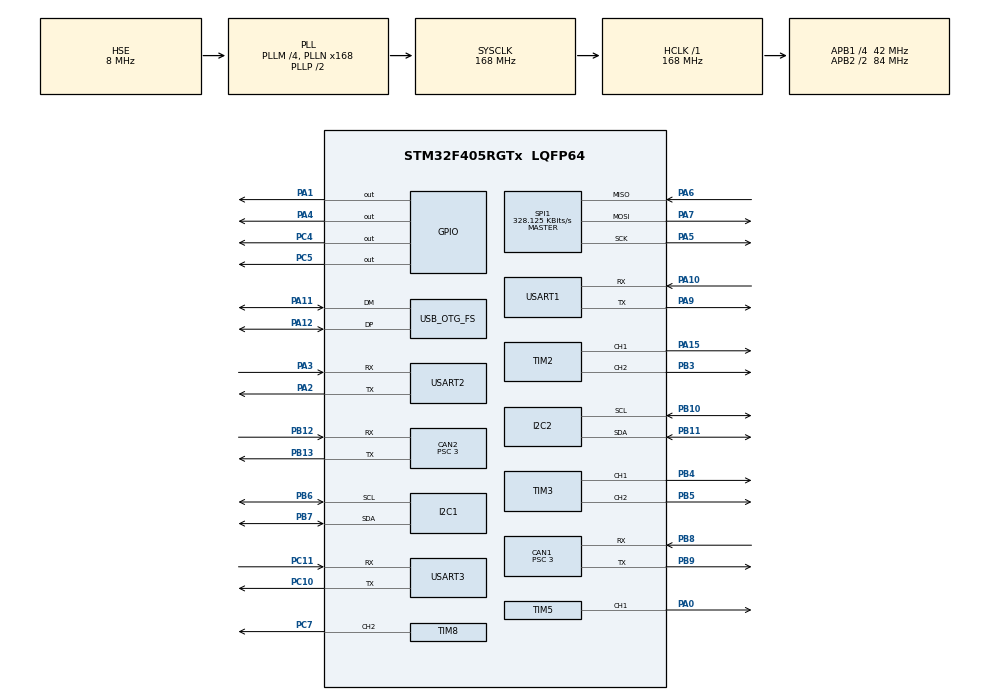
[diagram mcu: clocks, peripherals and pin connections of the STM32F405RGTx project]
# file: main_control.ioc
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CAN1.BS1=CAN_BS1_6TQ
CAN1.BS2=CAN_BS2_7TQ
CAN1.CalculateBaudRate=1000000
CAN1.CalculateTimeBit=1000
CAN1.CalculateTimeQuantum=71.42857142857143
CAN1.Prescaler=3
CAN1.TXFP=ENABLE
CAN2.BS1=CAN_BS1_10TQ
CAN2.BS2=CAN_BS2_3TQ
CAN2.CalculateBaudRate=1000000
CAN2.CalculateTimeBit=1000
CAN2.CalculateTimeQuantum=71.42857142857143
CAN2.Prescaler=3
CAN2.TXFP=ENABLE
FREERTOS.Tasks01=defaultTask,24,128,StartDefaultTask,Default,NULL,Dynamic,NULL,NULL;IMUTask,24,128,StartIMUTask,Default,NULL,Dynamic,NULL,NULL;CANTask,24,128,StartCANTask,Default,NULL,Dynamic,NULL,NULL
Mcu.Family=STM32F4
Mcu.Name=STM32F405RGTx
Mcu.Package=LQFP64
NVIC.CAN1_RX0_IRQn=true\:5\:0\:false\:false\:true\:true\:true\:true\:true
NVIC.CAN1_RX1_IRQn=true\:5\:0\:false\:false\:true\:true\:true\:true\:true
NVIC.CAN2_RX0_IRQn=true\:5\:0\:false\:false\:true\:true\:true\:true\:true
NVIC.CAN2_RX1_IRQn=true\:5\:0\:false\:false\:true\:true\:true\:true\:true
NVIC.OTG_FS_IRQn=true\:5\:0\:false\:false\:true\:true\:false\:true\:true
NVIC.PriorityGroup=NVIC_PRIORITYGROUP_4
NVIC.SPI1_IRQn=true\:5\:0\:false\:false\:true\:true\:true\:true\:true
NVIC.TIM8_TRG_COM_TIM14_IRQn=true\:15\:0\:false\:false\:true\:false\:false\:true\:true
NVIC.TimeBase=TIM8_TRG_COM_TIM14_IRQn
NVIC.TimeBaseIP=TIM14
PA0-WKUP.Signal=S_TIM5_CH1
PA1.GPIO_PuPd=GPIO_PULLUP
PA1.GPIO_Speed=GPIO_SPEED_FREQ_HIGH
PA1.PinState=GPIO_PIN_SET
PA1.Signal=GPIO_Output
PA10.Mode=Asynchronous
PA10.Signal=USART1_RX
PA11.Mode=Device_Only
PA11.Signal=USB_OTG_FS_DM
PA12.Mode=Device_Only
PA12.Signal=USB_OTG_FS_DP
PA15.Signal=S_TIM2_CH1_ETR
PA2.Mode=Asynchronous
PA2.Signal=USART2_TX
PA3.Mode=Asynchronous
PA3.Signal=USART2_RX
PA4.GPIO_PuPd=GPIO_PULLUP
PA4.GPIO_Speed=GPIO_SPEED_FREQ_HIGH
PA4.PinState=GPIO_PIN_SET
PA4.Signal=GPIO_Output
PA5.Mode=Full_Duplex_Master
PA5.Signal=SPI1_SCK
PA6.Mode=Full_Duplex_Master
PA6.Signal=SPI1_MISO
PA7.Mode=Full_Duplex_Master
PA7.Signal=SPI1_MOSI
PA9.Mode=Asynchronous
PA9.Signal=USART1_TX
PB10.Mode=I2C
PB10.Signal=I2C2_SCL
PB11.Mode=I2C
PB11.Signal=I2C2_SDA
PB12.Mode=CAN_Activate
PB12.Signal=CAN2_RX
PB13.Mode=CAN_Activate
PB13.Signal=CAN2_TX
PB3.Signal=S_TIM2_CH2
PB4.Signal=S_TIM3_CH1
PB5.Signal=S_TIM3_CH2
PB6.Mode=I2C
PB6.Signal=I2C1_SCL
PB7.Mode=I2C
PB7.Signal=I2C1_SDA
PB8.Mode=CAN_Activate
PB8.Signal=CAN1_RX
PB9.Mode=CAN_Activate
PB9.Signal=CAN1_TX
PC10.Mode=Asynchronous
PC10.Signal=USART3_TX
PC11.Mode=Asynchronous
PC11.Signal=USART3_RX
PC4.Signal=GPIO_Output
PC5.Signal=GPIO_Output
PC7.GPIO_PuPd=GPIO_NOPULL
PC7.Signal=S_TIM8_CH2
PH0-OSC_IN.Mode=HSE-External-Oscillator
PH0-OSC_IN.Signal=RCC_OSC_IN
PH1-OSC_OUT.Mode=HSE-External-Oscillator
PH1-OSC_OUT.Signal=RCC_OSC_OUT
ProjectManager.HeapSize=0x800
ProjectManager.StackSize=0x1600
ProjectManager.TargetToolchain=MDK-ARM V5.32
RCC.48MHZClocksFreq_Value=48000000
RCC.AHBFreq_Value=168000000
RCC.APB1CLKDivider=RCC_HCLK_DIV4
RCC.APB1Freq_Value=42000000
RCC.APB1TimFreq_Value=84000000
RCC.APB2CLKDivider=RCC_HCLK_DIV2
RCC.APB2Freq_Value=84000000
RCC.APB2TimFreq_Value=168000000
RCC.CortexFreq_Value=168000000
RCC.HCLKFreq_Value=168000000
RCC.HSE_VALUE=8000000
RCC.HSI_VALUE=16000000
RCC.LSE_VALUE=32768
RCC.PLLM=4
RCC.PLLN=168
RCC.PLLQ=7
RCC.SYSCLKFreq_VALUE=168000000
RCC.SYSCLKSource=RCC_SYSCLKSOURCE_PLLCLK
RCC.VCOOutputFreq_Value=336000000
SH.S_TIM2_CH1_ETR.0=TIM2_CH1,PWM Generation1 CH1
SH.S_TIM2_CH2.0=TIM2_CH2,PWM Generation2 CH2
SH.S_TIM3_CH1.0=TIM3_CH1,PWM Generation1 CH1
SH.S_TIM3_CH2.0=TIM3_CH2,PWM Generation2 CH2
SH.S_TIM5_CH1.0=TIM5_CH1,PWM Generation1 CH1
SH.S_TIM8_CH2.0=TIM8_CH2,PWM Generation2 CH2
SPI1.BaudRatePrescaler=SPI_BAUDRATEPRESCALER_256
SPI1.CLKPhase=SPI_PHASE_2EDGE
SPI1.CLKPolarity=SPI_POLARITY_HIGH
SPI1.CalculateBaudRate=328.125 KBits/s
SPI1.Direction=SPI_DIRECTION_2LINES
SPI1.Mode=SPI_MODE_MASTER
SPI1.VirtualType=VM_MASTER
TIM13.Prescaler=84-1
TIM2.Channel-PWM\ Generation1\ CH1=TIM_CHANNEL_1
TIM2.Channel-PWM\ Generation2\ CH2=TIM_CHANNEL_2
TIM3.Channel-PWM\ Generation1\ CH1=TIM_CHANNEL_1
TIM3.Channel-PWM\ Generation2\ CH2=TIM_CHANNEL_2
TIM5.Channel-PWM\ Generation1\ CH1=TIM_CHANNEL_1
TIM8.Channel-PWM\ Generation2\ CH2=TIM_CHANNEL_2
USART1.VirtualMode=VM_ASYNC
USART2.VirtualMode=VM_ASYNC
USART3.VirtualMode=VM_ASYNC
USB_DEVICE.CLASS_NAME_FS=CDC
USB_DEVICE.VirtualMode-CDC_FS=Cdc
USB_DEVICE.VirtualModeFS=Cdc_FS
USB_OTG_FS.VirtualMode=Device_Only
VP_FREERTOS_VS_CMSIS_V2.Mode=CMSIS_V2
VP_SYS_VS_tim14.Mode=TIM14
VP_TIM13_VS_ClockSourceINT.Mode=Enable_Timer
VP_USB_DEVICE_VS_USB_DEVICE_CDC_FS.Mode=CDC_FS
board=custom

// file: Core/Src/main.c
/* USER CODE BEGIN Header */
/**
 ******************************************************************************
 * @file           : main.c
 * @brief          : Main program body
 ******************************************************************************
 * @attention
 *
 * Copyright (c) 2024 STMicroelectronics.
 * All rights reserved.
 *
 * This software is licensed under terms that can be found in the LICENSE file
 * in the root directory of this software component.
 * If no LICENSE file comes with this software, it is provided AS-IS.
 *
 ******************************************************************************
 */
/* USER CODE END Header */
#include "main.h"
#include "cmsis_os.h"
#include "can.h"
#include "i2c.h"
#include "spi.h"
#include "tim.h"
#include "usart.h"
#include "usb_device.h"
#include "gpio.h"

/* USER CODE BEGIN Includes */
#include "bsp_tim.h"
/* USER CODE END Includes */

void SystemClock_Config(void);
void MX_FREERTOS_Init(void);

int main(void)
{

  /* MCU Configuration--------------------------------------------------------*/

  /* Reset of all peripherals, Initializes the Flash interface and the Systick. */
  HAL_Init();

  /* Configure the system clock */
  SystemClock_Config();

  /* Initialize all configured peripherals */
  MX_GPIO_Init();
  MX_CAN1_Init();
  MX_I2C1_Init();
  MX_I2C2_Init();
  MX_SPI1_Init();
  MX_TIM2_Init();
  MX_TIM3_Init();
  MX_USART1_UART_Init();
  MX_USART2_UART_Init();
  MX_TIM5_Init();
  MX_USART3_UART_Init();
  MX_TIM8_Init();
  MX_TIM13_Init();
  MX_CAN2_Init();
  /* USER CODE BEGIN 2 */
	HAL_GPIO_WritePin(GPIOC,GPIO_PIN_7,GPIO_PIN_RESET);
  /* USER CODE END 2 */

  /* Init scheduler */
  osKernelInitialize();

  /* Call init function for freertos objects (in cmsis_os2.c) */
  MX_FREERTOS_Init();

  /* Start scheduler */
  osKernelStart();

  /* We should never get here as control is now taken by the scheduler */

  /* Infinite loop */
  while (1) {

  }
}

void SystemClock_Config(void)
{
  RCC_OscInitTypeDef RCC_OscInitStruct = {0};
  RCC_ClkInitTypeDef RCC_ClkInitStruct = {0};

  /** Configure the main internal regulator output voltage
  */
  __HAL_RCC_PWR_CLK_ENABLE();
  __HAL_PWR_VOLTAGESCALING_CONFIG(PWR_REGULATOR_VOLTAGE_SCALE1);

  /** Initializes the RCC Oscillators according to the specified parameters
  * in the RCC_OscInitTypeDef structure.
  */
  RCC_OscInitStruct.OscillatorType = RCC_OSCILLATORTYPE_HSE;
  RCC_OscInitStruct.HSEState = RCC_HSE_ON;
  RCC_OscInitStruct.PLL.PLLState = RCC_PLL_ON;
  RCC_OscInitStruct.PLL.PLLSource = RCC_PLLSOURCE_HSE;
  RCC_OscInitStruct.PLL.PLLM = 4;
  RCC_OscInitStruct.PLL.PLLN = 168;
  RCC_OscInitStruct.PLL.PLLP = RCC_PLLP_DIV2;
  RCC_OscInitStruct.PLL.PLLQ = 7;
  if (HAL_RCC_OscConfig(&RCC_OscInitStruct) != HAL_OK)
  {
    Error_Handler();
  }

  /** Initializes the CPU, AHB and APB buses clocks
  */
  RCC_ClkInitStruct.ClockType = RCC_CLOCKTYPE_HCLK|RCC_CLOCKTYPE_SYSCLK
                              |RCC_CLOCKTYPE_PCLK1|RCC_CLOCKTYPE_PCLK2;
  RCC_ClkInitStruct.SYSCLKSource = RCC_SYSCLKSOURCE_PLLCLK;
  RCC_ClkInitStruct.AHBCLKDivider = RCC_SYSCLK_DIV1;
  RCC_ClkInitStruct.APB1CLKDivider = RCC_HCLK_DIV4;
  RCC_ClkInitStruct.APB2CLKDivider = RCC_HCLK_DIV2;

  if (HAL_RCC_ClockConfig(&RCC_ClkInitStruct, FLASH_LATENCY_5) != HAL_OK)
  {
    Error_Handler();
  }
}

void HAL_TIM_PeriodElapsedCallback(TIM_HandleTypeDef *htim)
{
  if (htim->Instance == TIM14) {
    HAL_IncTick();
  }
  /* USER CODE BEGIN Callback 1 */
  BSP_TIM_Callback(htim);
  /* USER CODE END Callback 1 */
}

void Error_Handler(void)
{
  __disable_irq();
  while (1) {
  }
}

#ifdef  USE_FULL_ASSERT
/**
  * @brief  Reports the name of the source file and the source line number
  *         where the assert_param error has occurred.
  * @param  file: pointer to the source file name
  * @param  line: assert_param error line source number
  * @retval None
  */
void assert_failed(uint8_t *file, uint32_t line)
{
  /* USER CODE BEGIN 6 */
  /* User can add his own implementation to report the file name and line
     number, ex: printf("Wrong parameters value: file %s on line %d\r\n", file,
     line) */
  /* USER CODE END 6 */
}
#endif /* USE_FULL_ASSERT */

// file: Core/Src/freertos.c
/* USER CODE BEGIN Header */
/**
  ******************************************************************************
  * File Name          : freertos.c
  * Description        : Code for freertos applications
  ******************************************************************************
  * @attention
  *
  * Copyright (c) 2024 STMicroelectronics.
  * All rights reserved.
  *
  * This software is licensed under terms that can be found in the LICENSE file
  * in the root directory of this software component.
  * If no LICENSE file comes with this software, it is provided AS-IS.
  *
  ******************************************************************************
  */
/* USER CODE END Header */

#include "FreeRTOS.h"
#include "task.h"
#include "main.h"
#include "cmsis_os.h"

/* USER CODE BEGIN Includes */
#include "bmi088.h"
#include "can_rxtx.h"
#include "usb_test.h"
#include "bsp_usb.h"
#include "bsp_can.h"
#include "bsp_i2c.h"
#include "bsp_time.h"
#include "as5600.h"
/* USER CODE END Includes */

/* USER CODE BEGIN Variables */
BMI088_IMU IMU;
/* USER CODE END Variables */
/* Definitions for defaultTask */
osThreadId_t defaultTaskHandle;
const osThreadAttr_t defaultTask_attributes = {
  .name = "defaultTask",
  .stack_size = 128 * 4,
  .priority = (osPriority_t) osPriorityNormal,
};
/* Definitions for IMUTask */
osThreadId_t IMUTaskHandle;
const osThreadAttr_t IMUTask_attributes = {
  .name = "IMUTask",
  .stack_size = 128 * 4,
  .priority = (osPriority_t) osPriorityNormal,
};
/* Definitions for CANTask */
osThreadId_t CANTaskHandle;
const osThreadAttr_t CANTask_attributes = {
  .name = "CANTask",
  .stack_size = 128 * 4,
  .priority = (osPriority_t) osPriorityNormal,
};

void StartDefaultTask(void *argument);
void StartIMUTask(void *argument);
void StartCANTask(void *argument);

extern void MX_USB_DEVICE_Init(void);
void MX_FREERTOS_Init(void); /* (MISRA C 2004 rule 8.1) */

void MX_FREERTOS_Init(void) {

  /* Create the thread(s) */
  /* creation of defaultTask */
  defaultTaskHandle = osThreadNew(StartDefaultTask, NULL, &defaultTask_attributes);

  /* creation of IMUTask */
  IMUTaskHandle = osThreadNew(StartIMUTask, NULL, &IMUTask_attributes);

  /* creation of CANTask */
  CANTaskHandle = osThreadNew(StartCANTask, NULL, &CANTask_attributes);

}

void StartDefaultTask(void *argument)
{
  /* init code for USB_DEVICE */
  MX_USB_DEVICE_Init();
  /* USER CODE BEGIN StartDefaultTask */
  app_usb_init();
	BSP_USB_Init();
  BSP_I2C_Init();
  BSP_time_init();
  /* Infinite loop */
  for(;;)
  {
    app_usb_loop();
    osDelay(50);
  }
  /* USER CODE END StartDefaultTask */
}

void StartIMUTask(void *argument)
{
  /* USER CODE BEGIN StartIMUTask */
  portTickType currentTimeIMU;
  currentTimeIMU = xTaskGetTickCount();
  BMI088_init(&IMU);
  /* Infinite loop */
  for (;;) {
		BMI088_update(&IMU);
    vTaskDelayUntil(&currentTimeIMU,2);
  }
  /* USER CODE END StartIMUTask */
}

void StartCANTask(void *argument)
{
  /* USER CODE BEGIN StartCANTask */
  portTickType currentTimeCAN;
  currentTimeCAN = xTaskGetTickCount();
  BSP_CAN_Init();
  app_CAN_rxtx_init();
  /* Infinite loop */
  for(;;)
  {
    app_CAN_rxtx_main();
    BSP_USB_Loop();
    BSP_time_update();
    vTaskDelayUntil(&currentTimeCAN, 50);
  }
  /* USER CODE END StartCANTask */
}
